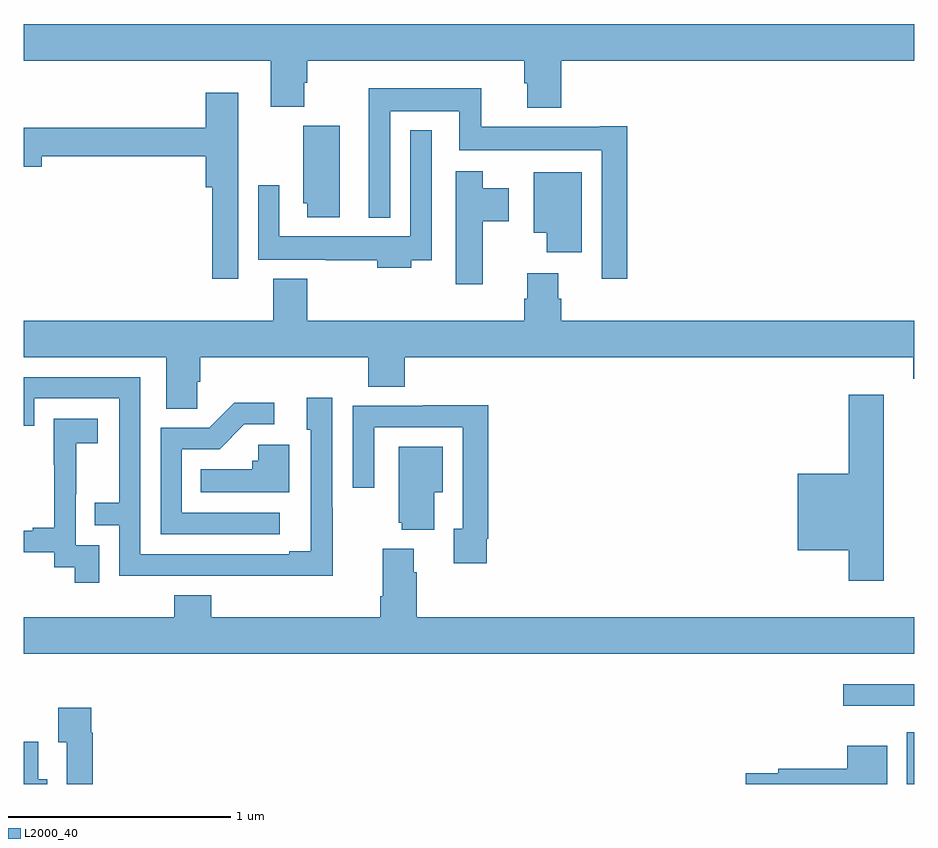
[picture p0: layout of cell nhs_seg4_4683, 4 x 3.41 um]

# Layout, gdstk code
import gdstk
lib = gdstk.Library(unit=1e-6, precision=1e-09)
def R(c, l, rs):  # rectangles x0, y0, x1, y1
    for r in rs: c.add(gdstk.rectangle(r[:2], r[2:], *l))
def P(c, l, *ps):  # polygons
    for p in ps: c.add(gdstk.Polygon(p, *l))
L2000_40 = (2000, 40)

nhs_seg4_4683 = lib.new_cell('nhs_seg4_4683')
R(nhs_seg4_4683, L2000_40, [(366.965,798.9,367,799.132), (366.681,799.251,367,799.348)])
P(nhs_seg4_4683, L2000_40, [(365.414,802.148),(367,802.148),(367,802.312),(363,802.312),(363,802.148),(364.109,802.148),(364.109,801.94),(364.261,801.94),(364.261,802.049),(364.274,802.049),(364.274,802.148),(365.249,802.148),(365.249,802.047),(365.261,802.047),(365.261,801.935),(365.414,801.935)],
  [(365.711,801.853),(365.588,801.853),(365.588,801.85),(365.054,801.85),(365.054,802.024),(364.55,802.024),(364.55,801.443),(364.647,801.443),(364.647,801.92),(364.956,801.92),(364.956,801.746),(365.595,801.746),(365.595,801.168),(365.711,801.168)],
  [(363.963,801.741),(363.964,801.741),(363.964,802.003),(363.818,802.003),(363.818,801.847),(363,801.847),(363,801.671),(363.082,801.671),(363.082,801.718),(363.818,801.718),(363.818,801.578),(363.847,801.578),(363.847,801.168),(363.963,801.168)],
  [(364.42,801.855),(364.256,801.855),(364.256,801.507),(364.274,801.507),(364.274,801.444),(364.42,801.444)],
  [(364.741,801.252),(364.833,801.252),(364.833,801.835),(364.737,801.835),(364.737,801.358),(364.149,801.358),(364.149,801.589),(364.053,801.589),(364.053,801.254),(364.357,801.254),(364.357,801.252),(364.589,801.252),(364.589,801.218),(364.741,801.218)],
  [(365.062,801.427),(365.179,801.427),(365.179,801.574),(365.062,801.574),(365.062,801.652),(364.94,801.652),(364.94,801.144),(365.062,801.144)],
  [(365.506,801.646),(365.291,801.646),(365.291,801.374),(365.348,801.374),(365.348,801.288),(365.506,801.288)],
  [(363.78,800.707),(363.794,800.707),(363.794,800.816),(364.547,800.816),(364.547,800.683),(364.712,800.683),(364.712,800.816),(366.995,800.816),(366.995,800.72),(367,800.72),(367,800.98),(365.414,800.98),(365.414,801.078),(365.401,801.078),(365.401,801.193),(365.261,801.193),(365.261,801.078),(365.249,801.078),(365.249,800.98),(364.274,800.98),(364.274,801.169),(364.121,801.169),(364.121,800.98),(363,800.98),(363,800.816),(363.641,800.816),(363.641,800.584),(363.78,800.584)],
  [(364.389,800.141),(364.386,800.141),(364.386,800.635),(364.271,800.635),(364.271,800.49),(364.29,800.49),(364.29,800.138),(364.289,800.138),(364.289,799.945),(364.193,799.945),(364.193,799.932),(363.525,799.932),(363.525,800.727),(363,800.727),(363,800.508),(363.048,800.508),(363.048,800.631),(363.429,800.631),(363.429,800.162),(363.319,800.162),(363.319,800.061),(363.429,800.061),(363.429,799.836),(363.925,799.836),(363.925,799.835),(364.389,799.835)],
  [(366.862,800.647),(366.704,800.647),(366.704,800.293),(366.476,800.293),(366.476,799.949),(366.704,799.949),(366.704,799.812),(366.862,799.812)],
  [(364.15,800.118),(363.711,800.118),(363.711,800.403),(363.88,800.403),(363.991,800.514),(364.126,800.514),(364.126,800.612),(363.947,800.612),(363.834,800.499),(363.615,800.499),(363.615,800.022),(364.15,800.022)],
  [(365.08,800.002),(365.087,800.002),(365.087,800.6),(364.795,800.6),(364.795,800.598),(364.479,800.598),(364.479,800.229),(364.575,800.229),(364.575,800.502),(364.971,800.502),(364.971,800.046),(364.931,800.046),(364.931,799.89),(365.08,799.89)],
  [(363.339,799.971),(363.234,799.971),(363.234,800.201),(363.236,800.201),(363.236,800.429),(363.334,800.429),(363.334,800.539),(363.136,800.539),(363.136,800.333),(363.137,800.333),(363.137,800.05),(363.041,800.05),(363.041,800.037),(363,800.037),(363,799.941),(363.138,799.941),(363.138,799.873),(363.231,799.873),(363.231,799.803),(363.339,799.803)],
  [(364.192,800.422),(364.053,800.422),(364.053,800.352),(364.027,800.352),(364.027,800.314),(363.796,800.314),(363.796,800.21),(364.192,800.21)],
  [(364.843,800.21),(364.882,800.21),(364.882,800.413),(364.685,800.413),(364.685,800.073),(364.697,800.073),(364.697,800.042),(364.843,800.042)],
  [(367,799.648),(364.766,799.648),(364.766,799.85),(364.753,799.85),(364.753,799.957),(364.613,799.957),(364.613,799.744),(364.601,799.744),(364.601,799.648),(363.842,799.648),(363.842,799.747),(363.677,799.747),(363.677,799.648),(363,799.648),(363,799.484),(367,799.484)],
  [(363.311,799.13),(363.304,799.13),(363.304,799.243),(363.155,799.243),(363.155,799.087),(363.195,799.087),(363.195,798.9),(363.311,798.9)],
  [(363.106,798.922),(363.067,798.922),(363.067,799.09),(363,799.09),(363,798.9),(363.106,798.9)],
  [(366.877,799.072),(366.698,799.072),(366.698,798.968),(366.388,798.968),(366.388,798.948),(366.242,798.948),(366.242,798.9),(366.877,798.9)])

lib.write_gds('nhs_seg4_4683.gds')
